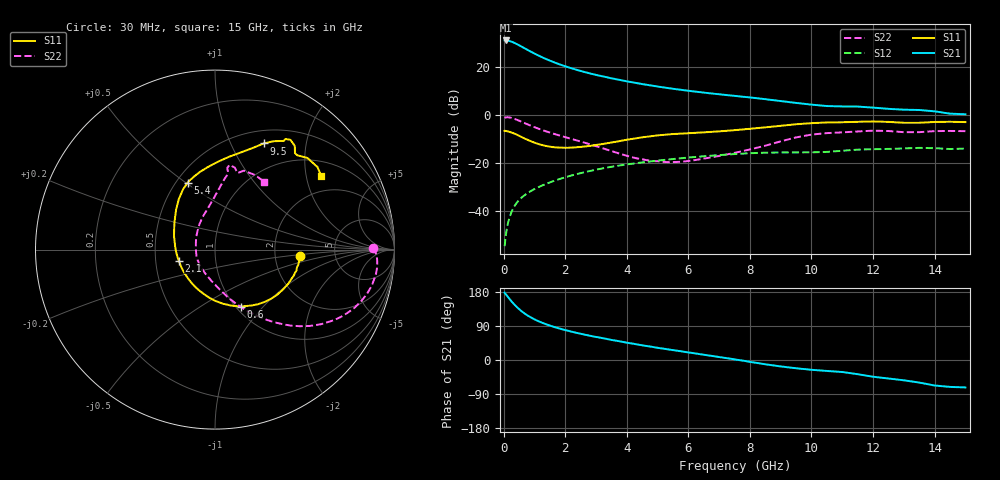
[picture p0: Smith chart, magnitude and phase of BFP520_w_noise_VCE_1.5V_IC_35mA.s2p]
! Infineon Technologies  Discrete & RF Semiconductors
! BFP520
! VCE =  1.5 V,  IC =  35 mA
! Common Emitter S-Parameters:  Oct 2015
# GHz  S  MA  R  50
!  f  S11  S21  S12  S22
! GHz  MAG  ANG  MAG  ANG  MAG  ANG  MAG  ANG
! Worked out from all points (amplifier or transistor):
!   109 points, 30 MHz to 15 GHz, reference 50 ohm
!   highest |S21| = 31.1 dB at 70 MHz (marker M1)
!   |S21| within 3 dB of that: start of sweep to 644.1 MHz
!   unconditionally stable (mu >= 1): start of sweep to 41.41 MHz; 2.166 GHz to end of sweep
!   at 450 MHz: K = 0.46, MSG = 32.7 dB, |S12| = -36.0 dB
!   at 4 GHz: K = 1.14, MAG = 15.0 dB, |S12| = -20.4 dB
!   at 15 GHz: K = 1.27, MAG = 4.0 dB, |S12| = -13.8 dB
!   lowest NFmin = 2.65 dB at 900 MHz
!   S11 on the Smith chart (normalised r, x): 30 MHz: 2.78, -0.27; 600 MHz: 1.06, -0.76; 2.1 GHz: 0.66, -0.09; 5.4 GHz: 0.57, +0.51; 9.5 GHz: 0.65, +1.34; 15 GHz: 1.43, +2.45
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0.03  0.4757 -4.5  35.76 177.6  0.0019 108.1  0.8801 0.6
0.07  0.4715 -9.3  35.88 173.3  0.0033 93.7  0.9024 -2.6
0.14  0.4625 -18.0  35.45 166.1  0.0057 85.1  0.9072 -8.3
0.2  0.4503 -24.9  34.71 160.0  0.0079 81.3  0.8968 -12.8
0.3  0.4281 -36.0  32.94 150.5  0.0113 77.8  0.863 -19.6
0.35  0.4148 -41.6  31.9 146.1  0.0129 76.0  0.8416 -22.7
0.45  0.388 -51.6  29.65 138.0  0.0159 73.4  0.7948 -28.2
0.6  0.3487 -65.4  26.34 127.5  0.0199 70.4  0.7227 -35.1
0.7  0.3245 -74.0  24.27 121.5  0.0223 68.9  0.6777 -38.9
0.9  0.2858 -89.7  20.7 111.6  0.027 66.8  0.5991 -45.0
1.2  0.2447 -110.7  16.61 99.9  0.0336 64.7  0.5067 -52.0
1.6  0.2176 -136.3  12.88 88.2  0.0424 62.4  0.4166 -59.3
2.1  0.2109 -163.0  9.94 77.0  0.0536 59.0  0.3366 -67.2
2.6  0.2231 174.9  7.997 67.4  0.0649 55.3  0.2724 -75.2
3.5  0.2718 146.4  5.863 53.0  0.0849 47.2  0.1806 -94.7
5.1  0.3864 116.2  3.871 31.0  0.1156 32.2  0.1086 -163.0
5.4  0.4017 112.4  3.63 27.3  0.1211 29.5  0.1061 -175.8
7.6  0.4962 86.6  2.492 0.4  0.1573 8.4  0.1706 119.3
9.5  0.6502 65.4  1.805 -21.8  0.1686 -10.2  0.3466 85.7
10.5  0.7083 58.7  1.554 -28.9  0.1729 -15.2  0.4255 80.4
13  0.6976 50.3  1.306 -53.5  0.2044 -36.5  0.4448 73.6
15  0.7207 34.9  1.048 -72.4  0.2033 -52.9  0.467 54.2
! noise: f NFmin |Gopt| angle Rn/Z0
0.45  2.66  0.09  -142  0.28
0.9  2.65  0.1  -137  0.31
1.9  2.82  0.14  -118  0.32
2.4  2.81  0.16  -115  0.31
3.5  2.77  0.17  -104  0.35
